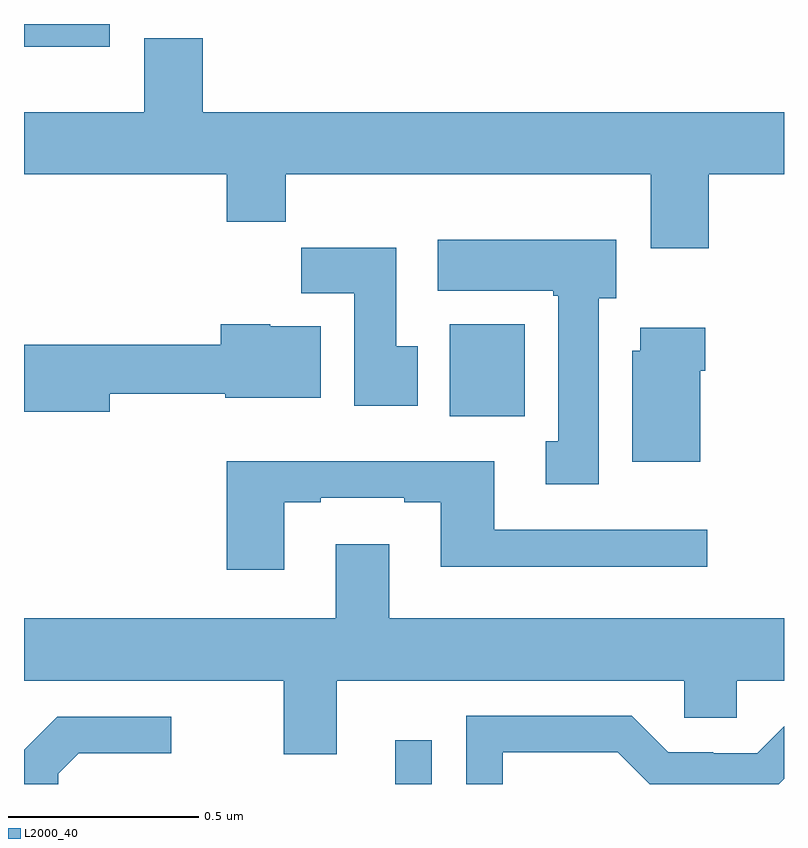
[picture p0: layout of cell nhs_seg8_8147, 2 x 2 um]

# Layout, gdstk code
import gdstk
lib = gdstk.Library(unit=1e-6, precision=1e-09)
def R(c, l, rs):  # rectangles x0, y0, x1, y1
    for r in rs: c.add(gdstk.rectangle(r[:2], r[2:], *l))
def P(c, l, *ps):  # polygons
    for p in ps: c.add(gdstk.Polygon(p, *l))
L2000_40 = (2000, 40)

nhs_seg8_8147 = lib.new_cell('nhs_seg8_8147')
R(nhs_seg8_8147, L2000_40, [(219.977,1110.9,220.073,1111.015), (220.121,1111.868,220.318,1112.11), (219,1112.84,219.226,1112.9)])
P(nhs_seg8_8147, L2000_40, [(220.802,1112.504),(221,1112.504),(221,1112.668),(219.47,1112.668),(219.47,1112.863),(219.317,1112.863),(219.317,1112.668),(219,1112.668),(219,1112.504),(219.533,1112.504),(219.533,1112.38),(219.689,1112.38),(219.689,1112.504),(220.649,1112.504),(220.649,1112.31),(220.802,1112.31)],
  [(220.513,1112.178),(220.558,1112.178),(220.558,1112.332),(220.089,1112.332),(220.089,1112.198),(220.393,1112.198),(220.393,1112.185),(220.406,1112.185),(220.406,1111.802),(220.373,1111.802),(220.373,1111.689),(220.513,1111.689)],
  [(220.036,1112.052),(219.979,1112.052),(219.979,1112.311),(219.73,1112.311),(219.73,1112.192),(219.869,1112.192),(219.869,1111.896),(220.036,1111.896)],
  [(219.226,1111.927),(219.53,1111.927),(219.53,1111.916),(219.781,1111.916),(219.781,1112.104),(219.648,1112.104),(219.648,1112.11),(219.518,1112.11),(219.518,1112.056),(219,1112.056),(219,1111.88),(219.226,1111.88)],
  [(220.78,1111.988),(220.793,1111.988),(220.793,1112.101),(220.622,1112.101),(220.622,1112.04),(220.601,1112.04),(220.601,1111.748),(220.78,1111.748)],
  [(219.685,1111.641),(219.781,1111.641),(219.781,1111.653),(220.001,1111.653),(220.001,1111.641),(220.097,1111.641),(220.097,1111.472),(220.798,1111.472),(220.798,1111.569),(220.237,1111.569),(220.237,1111.75),(219.533,1111.75),(219.533,1111.464),(219.685,1111.464)],
  [(219,1111.172),(219.683,1111.172),(219.683,1110.978),(219.823,1110.978),(219.823,1111.172),(220.737,1111.172),(220.737,1111.074),(220.875,1111.074),(220.875,1111.172),(221,1111.172),(221,1111.336),(219.961,1111.336),(219.961,1111.531),(219.821,1111.531),(219.821,1111.336),(219,1111.336)],
  [(220.26,1110.984),(220.563,1110.984),(220.647,1110.9),(220.986,1110.9),(221,1110.914),(221,1111.052),(220.929,1110.981),(220.814,1110.981),(220.814,1110.984),(220.695,1110.984),(220.599,1111.08),(220.164,1111.08),(220.164,1110.9),(220.26,1110.9)],
  [(219.09,1110.927),(219.144,1110.981),(219.388,1110.981),(219.388,1111.077),(219.087,1111.077),(219,1110.99),(219,1110.9),(219.09,1110.9)])

lib.write_gds('nhs_seg8_8147.gds')
